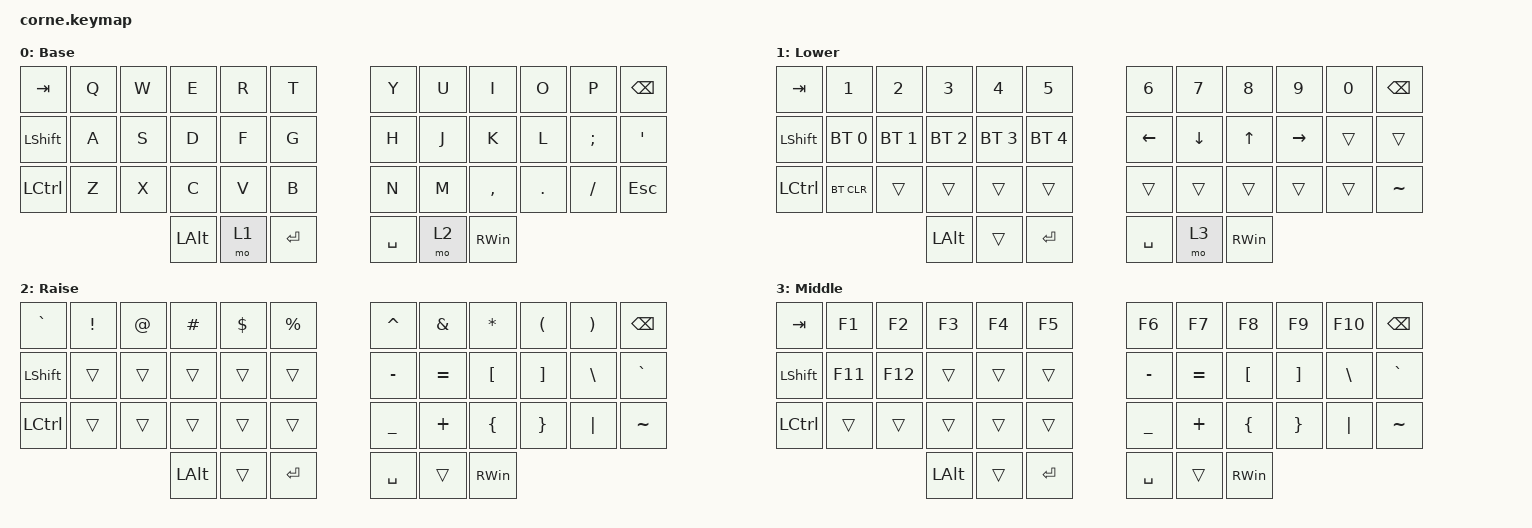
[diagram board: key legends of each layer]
/*
 * Copyright (c) 2020 The ZMK Contributors
 *
 * SPDX-License-Identifier: MIT
 */

#include <behaviors.dtsi>
#include <dt-bindings/zmk/bt.h>
#include <dt-bindings/zmk/keys.h>

/ {
    keymap {
        compatible = "zmk,keymap";

        default_layer {
            // -----------------------------------------------------------------------------------------
            // |  TAB |  Q  |  W  |  E  |  R  |  T  |   |  Y  |  U   |  I  |  O  |  P  | BKSP |
            // | CTRL |  A  |  S  |  D  |  F  |  G  |   |  H  |  J   |  K  |  L  |  ;  |  '   |
            // | SHFT |  Z  |  X  |  C  |  V  |  B  |   |  N  |  M   |  ,  |  .  |  /  | ESC  |
            //                    | GUI | LWR | SPC |   | ENT | RSE  | ALT |

            display-name = "Base";
            bindings = <
&kp TAB           &kp Q  &kp W  &kp E         &kp R  &kp T      &kp Y      &kp U  &kp I          &kp O    &kp P     &kp BSPC
&kp LEFT_SHIFT    &kp A  &kp S  &kp D         &kp F  &kp G      &kp H      &kp J  &kp K          &kp L    &kp SEMI  &kp SQT
&kp LEFT_CONTROL  &kp Z  &kp X  &kp C         &kp V  &kp B      &kp N      &kp M  &kp COMMA      &kp DOT  &kp FSLH  &kp ESC
                                &kp LEFT_ALT  &mo 1  &kp RET    &kp SPACE  &mo 2  &kp RIGHT_WIN
            >;
        };

        lower_layer {
            // -----------------------------------------------------------------------------------------
            // |  TAB |  1  |  2  |  3  |  4  |  5  |   |  6  |  7  |  8  |  9  |  0  | BKSP |
            // | BTCLR| BT1 | BT2 | BT3 | BT4 | BT5 |   | LFT | DWN |  UP | RGT |     |      |
            // | SHFT |     |     |     |     |     |   |     |     |     |     |     |      |
            //                    | GUI |     | SPC |   | ENT |     | ALT |

            display-name = "Lower";
            bindings = <
&kp TAB           &kp N1        &kp N2        &kp N3        &kp N4        &kp N5          &kp N6     &kp N7    &kp N8         &kp N9     &kp N0  &kp BSPC
&kp LEFT_SHIFT    &bt BT_SEL 0  &bt BT_SEL 1  &bt BT_SEL 2  &bt BT_SEL 3  &bt BT_SEL 4    &kp LEFT   &kp DOWN  &kp UP         &kp RIGHT  &trans  &trans
&kp LEFT_CONTROL  &bt BT_CLR    &trans        &trans        &trans        &trans          &trans     &trans    &trans         &trans     &trans  &kp TILDE
                                              &kp LEFT_ALT  &trans        &kp RET         &kp SPACE  &mo 3     &kp RIGHT_WIN
            >;
        };

        raise_layer {
            // -----------------------------------------------------------------------------------------
            // |  TAB |  !  |  @  |  #  |  $  |  %  |   |  ^  |  &  |  *  |  (  |  )  | BKSP |
            // | CTRL |     |     |     |     |     |   |  -  |  =  |  [  |  ]  |  \  |  `   |
            // | SHFT |     |     |     |     |     |   |  _  |  +  |  {  |  }  | "|" |  ~   |
            //                    | GUI |     | SPC |   | ENT |     | ALT |

            display-name = "Raise";
            bindings = <
&kp GRAVE         &kp EXCL  &kp AT  &kp HASH      &kp DLLR  &kp PRCNT    &kp CARET  &kp AMPS   &kp ASTERISK   &kp LPAR  &kp RPAR  &kp BSPC
&kp LEFT_SHIFT    &trans    &trans  &trans        &trans    &trans       &kp MINUS  &kp EQUAL  &kp LBKT       &kp RBKT  &kp BSLH  &kp GRAVE
&kp LEFT_CONTROL  &trans    &trans  &trans        &trans    &trans       &kp UNDER  &kp PLUS   &kp LBRC       &kp RBRC  &kp PIPE  &kp TILDE
                                    &kp LEFT_ALT  &trans    &kp RET      &kp SPACE  &trans     &kp RIGHT_WIN
            >;
        };

        extra_1 {
            // |  TAB |  !  |  @  |  #  |  $  |  %  |   |  ^  |  &  |  *  |  (  |  )  | BKSP |
            // | CTRL |     |     |     |     |     |   |  -  |  =  |  [  |  ]  |  \  |  `   |
            // | SHFT |     |     |     |     |     |   |  _  |  +  |  {  |  }  | "|" |  ~   |
            //                    | GUI |     | SPC |   | ENT |     | ALT |

            display-name = "Middle";
            bindings = <
&kp TAB           &kp F1   &kp F2   &kp F3        &kp F4  &kp F5     &kp F6     &kp F7     &kp F8         &kp F9    &kp F10   &kp BSPC
&kp LEFT_SHIFT    &kp F11  &kp F12  &trans        &trans  &trans     &kp MINUS  &kp EQUAL  &kp LBKT       &kp RBKT  &kp BSLH  &kp GRAVE
&kp LEFT_CONTROL  &trans   &trans   &trans        &trans  &trans     &kp UNDER  &kp PLUS   &kp LBRC       &kp RBRC  &kp PIPE  &kp TILDE
                                    &kp LEFT_ALT  &trans  &kp RET    &kp SPACE  &trans     &kp RIGHT_WIN
            >;
        };

        extra_2 { status = "reserved"; };

        extra_3 { status = "reserved"; };
    };
};
